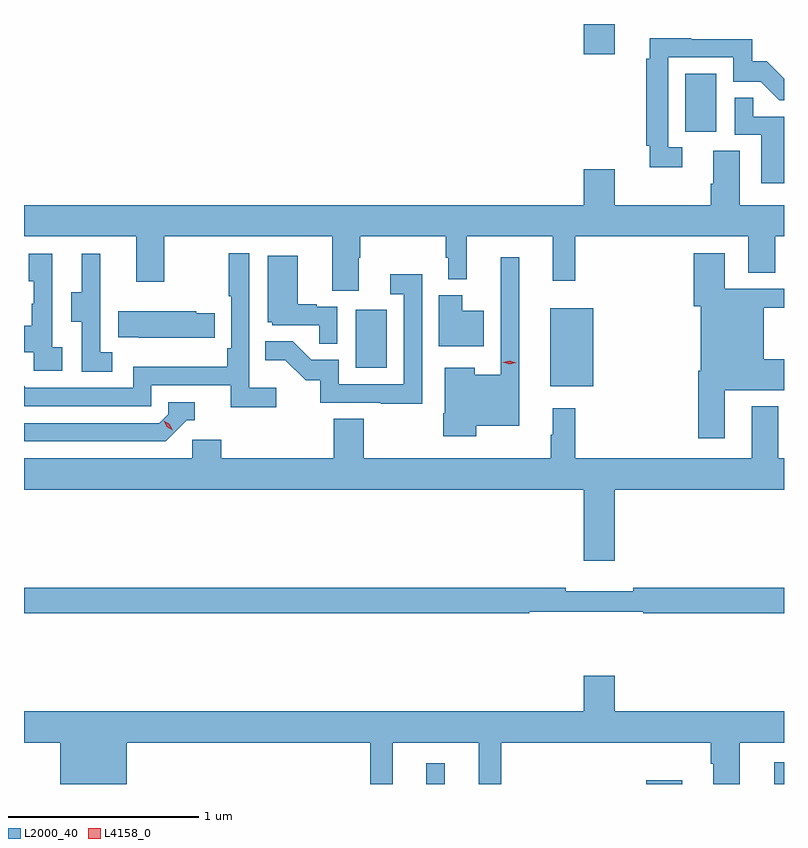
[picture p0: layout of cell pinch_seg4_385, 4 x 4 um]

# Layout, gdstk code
import gdstk
lib = gdstk.Library(unit=1e-6, precision=1e-09)
def R(c, l, rs):  # rectangles x0, y0, x1, y1
    for r in rs: c.add(gdstk.rectangle(r[:2], r[2:], *l))
def P(c, l, *ps):  # polygons
    for p in ps: c.add(gdstk.Polygon(p, *l))
L2000_40 = (2000, 40)
L4158_0 = (4158, 0)

pinch_seg4_385 = lib.new_cell('pinch_seg4_385')
R(pinch_seg4_385, L2000_40, [(991.352,776.622,991.449,776.731), (992.509,776.622,992.698,776.641), (993.182,776.622,993.234,776.737), (992.003,778.715,992.23,779.125), (990.98,778.812,991.144,779.119), (992.714,780.054,992.878,780.361), (992.18,780.462,992.344,780.622)])
P(pinch_seg4_385, L2000_40, [(992.698,779.973),(992.625,779.973),(992.625,780.447),(992.967,780.447),(992.967,780.318),(993.112,780.318),(993.209,780.221),(993.234,780.221),(993.234,780.334),(993.142,780.426),(993.066,780.426),(993.066,780.543),(992.747,780.543),(992.747,780.548),(992.528,780.548),(992.528,780.44),(992.509,780.44),(992.509,779.98),(992.528,779.98),(992.528,779.868),(992.698,779.868)],
  [(993.234,780.135),(993.071,780.135),(993.071,780.233),(992.976,780.233),(992.976,780.039),(993.113,780.039),(993.113,779.784),(993.234,779.784)],
  [(989.234,779.504),(989.825,779.504),(989.825,779.265),(989.973,779.265),(989.973,779.504),(990.857,779.504),(990.857,779.218),(990.997,779.218),(990.997,779.392),(991.005,779.392),(991.005,779.504),(991.455,779.504),(991.455,779.392),(991.466,779.392),(991.466,779.279),(991.565,779.279),(991.565,779.504),(992.018,779.504),(992.018,779.271),(992.135,779.271),(992.135,779.504),(993.047,779.504),(993.047,779.314),(993.187,779.314),(993.187,779.504),(993.234,779.504),(993.234,779.668),(993.001,779.668),(993.001,779.954),(992.861,779.954),(992.861,779.78),(992.849,779.78),(992.849,779.668),(992.344,779.668),(992.344,779.857),(992.18,779.857),(992.18,779.668),(989.234,779.668)],
  [(990.562,778.708),(990.42,778.708),(990.42,779.416),(990.312,779.416),(990.312,779.188),(990.324,779.188),(990.324,778.915),(990.304,778.915),(990.304,778.819),(989.808,778.819),(989.808,778.707),(989.244,778.707),(989.234,778.717),(989.234,778.611),(989.904,778.611),(989.904,778.722),(990.323,778.722),(990.323,778.606),(990.562,778.606)],
  [(992.923,778.694),(993.234,778.694),(993.234,778.858),(993.127,778.858),(993.127,779.128),(993.234,779.128),(993.234,779.229),(992.923,779.229),(992.923,779.416),(992.759,779.416),(992.759,779.136),(992.795,779.136),(992.795,778.798),(992.783,778.798),(992.783,778.443),(992.923,778.443)],
  [(989.434,778.922),(989.382,778.922),(989.382,779.413),(989.258,779.413),(989.258,779.268),(989.284,779.268),(989.284,779.15),(989.274,779.15),(989.274,779.035),(989.234,779.035),(989.234,778.895),(989.286,778.895),(989.286,778.797),(989.434,778.797)],
  [(989.698,778.895),(989.634,778.895),(989.634,779.199),(989.636,779.199),(989.636,779.413),(989.537,779.413),(989.537,779.211),(989.483,779.211),(989.483,779.056),(989.538,779.056),(989.538,778.792),(989.698,778.792)],
  [(990.882,779.133),(990.776,779.133),(990.776,779.146),(990.676,779.146),(990.676,779.401),(990.518,779.401),(990.518,779.052),(990.54,779.052),(990.54,779.037),(990.787,779.037),(990.787,778.939),(990.882,778.939)],
  [(991.614,778.508),(991.84,778.508),(991.84,779.395),(991.743,779.395),(991.743,778.777),(991.606,778.777),(991.606,778.813),(991.448,778.813),(991.448,778.573),(991.441,778.573),(991.441,778.451),(991.614,778.451)],
  [(991.329,779.305),(991.161,779.305),(991.161,779.199),(991.233,779.199),(991.233,778.725),(990.891,778.725),(990.891,778.854),(990.747,778.854),(990.649,778.952),(990.505,778.952),(990.505,778.853),(990.609,778.853),(990.716,778.746),(990.793,778.746),(990.793,778.629),(991.111,778.629),(991.111,778.624),(991.329,778.624)],
  [(991.654,779.113),(991.54,779.113),(991.54,779.194),(991.418,779.194),(991.418,778.925),(991.654,778.925)],
  [(990.239,779.1),(990.141,779.1),(990.141,779.11),(989.731,779.11),(989.731,778.973),(989.839,778.973),(989.839,778.97),(990.239,778.97)],
  [(990.09,778.536),(990.133,778.536),(990.133,778.632),(989.994,778.632),(989.994,778.569),(989.946,778.521),(989.234,778.521),(989.234,778.425),(989.979,778.425)],
  [(992.344,778.172),(993.234,778.172),(993.234,778.336),(993.205,778.336),(993.205,778.609),(993.065,778.609),(993.065,778.336),(992.135,778.336),(992.135,778.6),(992.018,778.6),(992.018,778.46),(992.007,778.46),(992.007,778.336),(991.023,778.336),(991.023,778.544),(990.863,778.544),(990.863,778.336),(990.272,778.336),(990.272,778.434),(990.12,778.434),(990.12,778.336),(989.234,778.336),(989.234,778.172),(992.18,778.172),(992.18,777.798),(992.344,777.798)],
  [(991.894,777.528),(992.494,777.528),(992.494,777.52),(993.234,777.52),(993.234,777.656),(992.44,777.656),(992.44,777.637),(992.084,777.637),(992.084,777.656),(989.234,777.656),(989.234,777.52),(991.894,777.52)],
  [(989.776,776.84),(991.057,776.84),(991.057,776.622),(991.175,776.622),(991.175,776.84),(991.628,776.84),(991.628,776.622),(991.745,776.622),(991.745,776.84),(992.849,776.84),(992.849,776.728),(992.861,776.728),(992.861,776.622),(993.001,776.622),(993.001,776.84),(993.234,776.84),(993.234,777.004),(992.344,777.004),(992.344,777.193),(992.18,777.193),(992.18,777.004),(989.234,777.004),(989.234,776.84),(989.426,776.84),(989.426,776.622),(989.776,776.622)])
P(pinch_seg4_385, L4158_0, [(990.017,778.483),(989.986,778.502),(989.97,778.535),(989.97,778.535),(989.97,778.535),(990.001,778.516),(990.018,778.484),(990.018,778.483)],
  [(991.789,778.83),(991.754,778.842),(991.753,778.842),(991.754,778.842),(991.79,778.85),(991.825,778.839),(991.825,778.838),(991.825,778.838)])

lib.write_gds('pinch_seg4_385.gds')
